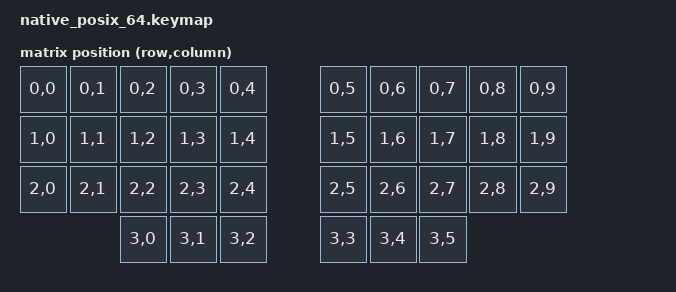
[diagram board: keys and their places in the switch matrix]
#include <dt-bindings/zmk/matrix_transform.h>
#include <dt-bindings/zmk/kscan_mock.h>

/ {
    chosen {
        zmk,matrix-transform = &transform;
    };

    /* op36 position N is RC(N/10, N%10); thumbs 30..35 are row 3. */
    transform: keymap_transform {
        compatible = "zmk,matrix-transform";
        columns = <10>;
        rows = <4>;
        map = <
            RC(0,0) RC(0,1) RC(0,2) RC(0,3) RC(0,4) RC(0,5) RC(0,6) RC(0,7) RC(0,8) RC(0,9)
            RC(1,0) RC(1,1) RC(1,2) RC(1,3) RC(1,4) RC(1,5) RC(1,6) RC(1,7) RC(1,8) RC(1,9)
            RC(2,0) RC(2,1) RC(2,2) RC(2,3) RC(2,4) RC(2,5) RC(2,6) RC(2,7) RC(2,8) RC(2,9)
            RC(3,0) RC(3,1) RC(3,2) RC(3,3) RC(3,4) RC(3,5)
        >;
    };
};

&kscan {
    rows = <4>;
    columns = <10>;
    events = <
        /* lead-in so require-prior-idle-ms sees real idle time */
        ZMK_MOCK_PRESS(0,1,10)
        ZMK_MOCK_RELEASE(0,1,400)

        /* cmbru (tap thumbs 31+34) leaves en for ru: one Caps Lock. */
        ZMK_MOCK_PRESS(3,1,5)
        ZMK_MOCK_PRESS(3,4,20)
        ZMK_MOCK_RELEASE(3,1,10)
        ZMK_MOCK_RELEASE(3,4,300)

        /* Hold right Cmd (pos 16). en_mod runs &to 0, so the highest active
           layer becomes 0 for the duration — which is what cmbru is scoped to.
           Firing positions 2+3 now must NOT emit a second Caps Lock: that
           would leave the firmware on ru and the host back on English. */
        ZMK_MOCK_PRESS(1,6,350)
        ZMK_MOCK_PRESS(3,1,5)
        ZMK_MOCK_PRESS(3,4,20)
        ZMK_MOCK_RELEASE(3,1,10)
        ZMK_MOCK_RELEASE(3,4,200)
        ZMK_MOCK_RELEASE(1,6,300)

        /* Which layer did we end on? pos 1 is й (0x14) on ru, W (0x1A) on en. */
        ZMK_MOCK_PRESS(0,1,30)
        ZMK_MOCK_RELEASE(0,1,200)
    >;
};

#include "/cfg/op36_ruen.keymap"
